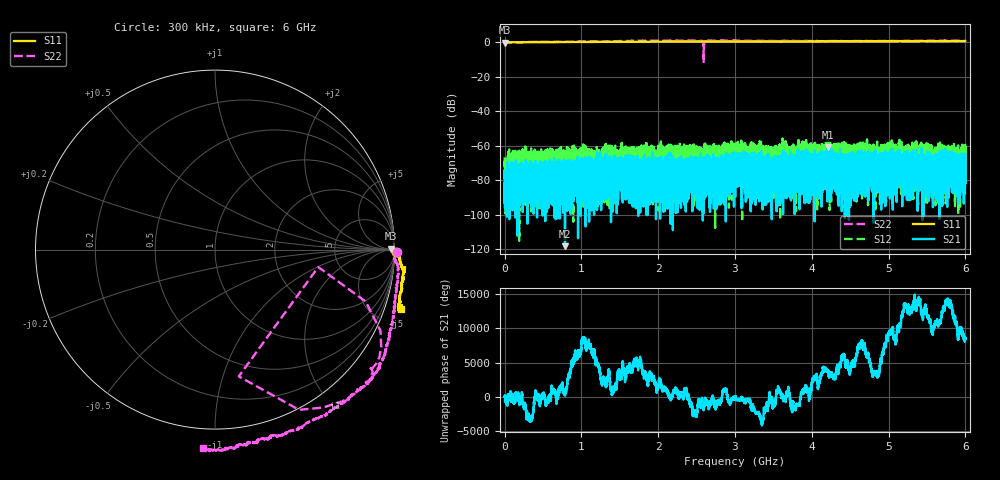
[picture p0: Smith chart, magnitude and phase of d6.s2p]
!Agilent Technologies,N5230C,SG49000117,A.08.50.07
!Agilent N5230C: A.08.50.07
!Date: Thursday, May 16, 2024 18:10:16
!Correction: S11(Full 2 Port(1,2))
!S21(Full 2 Port(1,2))
!S12(Full 2 Port(1,2))
!S22(Full 2 Port(1,2))
!S2P File: Measurements: S11, S21, S12, S22:
# Hz S  MA  R 50
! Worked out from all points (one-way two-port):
!   20001 points, 300 kHz to 6 GHz, reference 50 ohm
!   highest |S21| = -60.95 dB at 4.213 GHz (marker M1); lowest = -118.3 dB at 786.9 MHz (marker M2)
!   lowest |S11| = -0.2 dB at 600 kHz (marker M3), VSWR 110.77, Z = 5.13e+03 + j1.45e+03 ohm
!   |S11| at or under -10 dB: nowhere
!   |S22| runs from -12.0 to 1.1 dB; largest |S21 - S12| = 0.0019
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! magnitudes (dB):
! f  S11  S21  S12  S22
! 300 kHz  0.1  -74.7  -66.7  0.1
! 600 kHz  -0.2  -87.5  -71.9  -0.3
! 30.9 MHz  0.0  -81.5  -73.2  0.0
! 121.2 MHz  0.0  -78.0  -67.1  0.0
! 786.9 MHz  0.2  -118.3  -68.9  0.3
! 1 GHz  0.2  -76.3  -61.8  0.4
! 2 GHz  0.5  -75.2  -60.0  1.0
! 2.106 GHz  0.5  -70.4  -67.3  1.0
! 2.7 GHz  0.5  -81.4  -68.2  1.0
! 3 GHz  0.5  -66.5  -73.3  1.0
! 3.479 GHz  0.5  -102.6  -71.3  0.8
! 3.633 GHz  0.5  -62.9  -69.2  0.8
! 4 GHz  0.5  -79.5  -79.4  0.8
! 4.213 GHz  0.6  -60.9  -61.9  0.7
! 4.349 GHz  0.6  -71.8  -66.1  0.8
! 5 GHz  0.7  -76.1  -65.6  0.8
! 5.278 GHz  0.7  -71.1  -78.2  0.9
! 5.459 GHz  0.7  -70.0  -69.0  0.9
! 5.587 GHz  0.7  -78.3  -67.4  1.0
! 5.733 GHz  0.7  -77.2  -67.5  1.0
! 5.944 GHz  0.7  -69.4  -70.5  0.9
! 6 GHz  0.7  -69.1  -69.6  0.9
